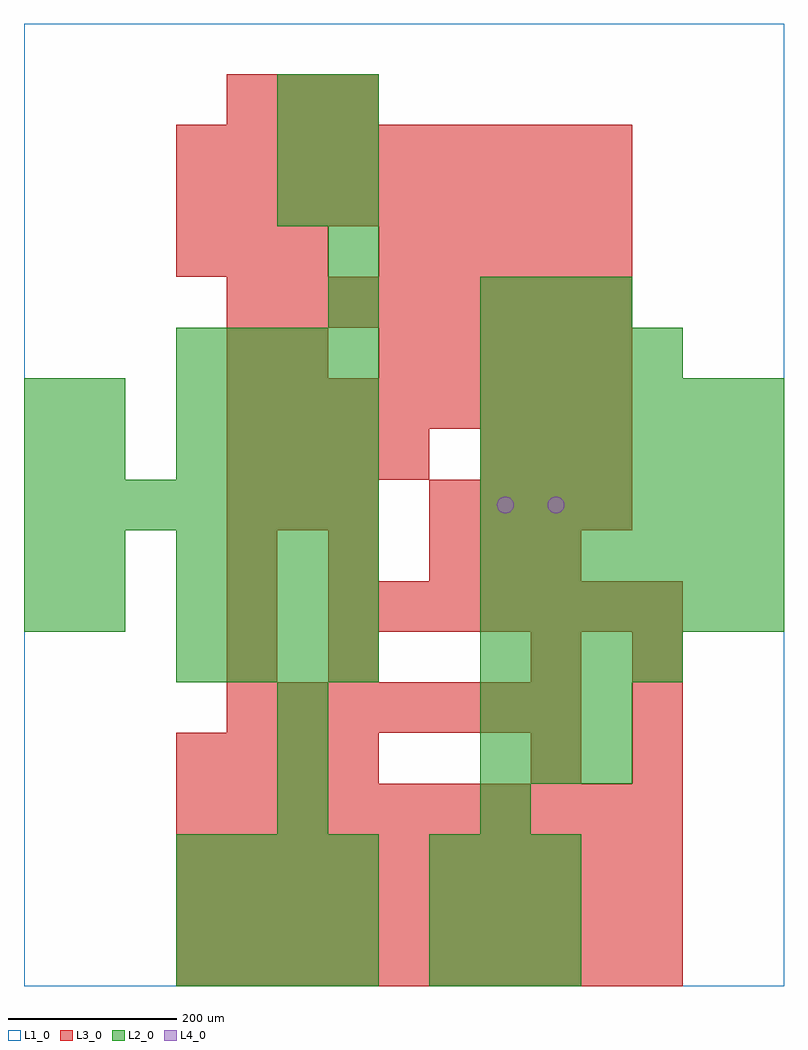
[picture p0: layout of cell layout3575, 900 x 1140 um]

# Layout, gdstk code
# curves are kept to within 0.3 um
import gdstk
lib = gdstk.Library(unit=1e-6, precision=1e-09)
def R(c, l, rs):  # rectangles x0, y0, x1, y1
    for r in rs: c.add(gdstk.rectangle(r[:2], r[2:], *l))
def A(c, l, x, y, w, h, nx, ny, dx, dy):  # array of equal rectangles
    R(c, l, [(x+i*dx, y+j*dy, x+i*dx+w, y+j*dy+h) for i in range(nx) for j in range(ny)])
def P(c, l, *ps):  # polygons
    for p in ps: c.add(gdstk.Polygon(p, *l))
L1_0 = (1, 0)
L2_0 = (2, 0)
L3_0 = (3, 0)
L4_0 = (4, 0)

layout3575 = lib.new_cell('layout3575')
R(layout3575, L1_0, [(0,0,900,1140)])
A(layout3575, L2_0, 180, 0, 60, 60, 4, 3, 60, 60)
A(layout3575, L2_0, 480, 0, 60, 60, 3, 3, 60, 60)
A(layout3575, L2_0, 300, 180, 60, 60, 1, 3, 0, 60)
A(layout3575, L2_0, 540, 240, 60, 60, 3, 2, 60, 60)
A(layout3575, L2_0, 180, 360, 60, 60, 4, 3, 60, 60)
A(layout3575, L2_0, 540, 360, 60, 60, 4, 2, 60, 360)
A(layout3575, L2_0, 540, 420, 60, 60, 6, 5, 60, 60)
A(layout3575, L2_0, 0, 540, 60, 60, 7, 1, 60, 0)
A(layout3575, L2_0, 180, 600, 60, 60, 4, 3, 60, 60)
A(layout3575, L2_0, 360, 780, 60, 60, 1, 5, 0, 60)
A(layout3575, L2_0, 540, 780, 60, 60, 3, 1, 60, 0)
A(layout3575, L2_0, 300, 900, 60, 60, 1, 3, 0, 60)
R(layout3575, L2_0, [(540,180,600,240), (0,420,60,480), (60,420,120,480), (0,480,60,540), (60,480,120,540), (0,600,60,660), (60,600,120,660), (0,660,60,720), (60,660,120,720)])
A(layout3575, L3_0, 180, 0, 60, 60, 10, 4, 60, 60)
A(layout3575, L3_0, 180, 240, 60, 60, 4, 1, 60, 0)
A(layout3575, L3_0, 600, 240, 60, 60, 1, 3, 0, 120)
A(layout3575, L3_0, 720, 240, 60, 60, 1, 3, 0, 60)
A(layout3575, L3_0, 240, 300, 60, 60, 7, 1, 60, 0)
A(layout3575, L3_0, 360, 420, 60, 60, 7, 1, 60, 0)
A(layout3575, L3_0, 240, 480, 60, 60, 3, 1, 120, 0)
A(layout3575, L3_0, 240, 540, 60, 60, 3, 2, 60, 480)
A(layout3575, L3_0, 480, 540, 60, 60, 4, 1, 60, 0)
A(layout3575, L3_0, 240, 600, 60, 60, 4, 1, 60, 0)
A(layout3575, L3_0, 540, 600, 60, 60, 3, 1, 60, 0)
A(layout3575, L3_0, 240, 660, 60, 60, 8, 2, 60, 120)
A(layout3575, L3_0, 420, 720, 60, 60, 5, 2, 60, 120)
A(layout3575, L3_0, 180, 840, 60, 60, 3, 1, 60, 0)
A(layout3575, L3_0, 180, 900, 60, 60, 9, 2, 60, 60)
R(layout3575, L3_0, [(240,360,300,420), (360,360,420,420), (240,420,300,480), (540,480,600,540), (240,720,300,780), (300,720,360,780)])
P(layout3575, L4_0, [(580,570),(579.239,573.827),(577.071,577.071),(573.827,579.239),(570,580),(566.173,579.239),(562.929,577.071),(560.761,573.827),(560,570),(560.761,566.173),(562.929,562.929),(566.173,560.761),(570,560),(573.827,560.761),(577.071,562.929),(579.239,566.173)],
  [(640,570),(639.239,573.827),(637.071,577.071),(633.827,579.239),(630,580),(626.173,579.239),(622.929,577.071),(620.761,573.827),(620,570),(620.761,566.173),(622.929,562.929),(626.173,560.761),(630,560),(633.827,560.761),(637.071,562.929),(639.239,566.173)])

lib.write_gds('layout3575.gds')
